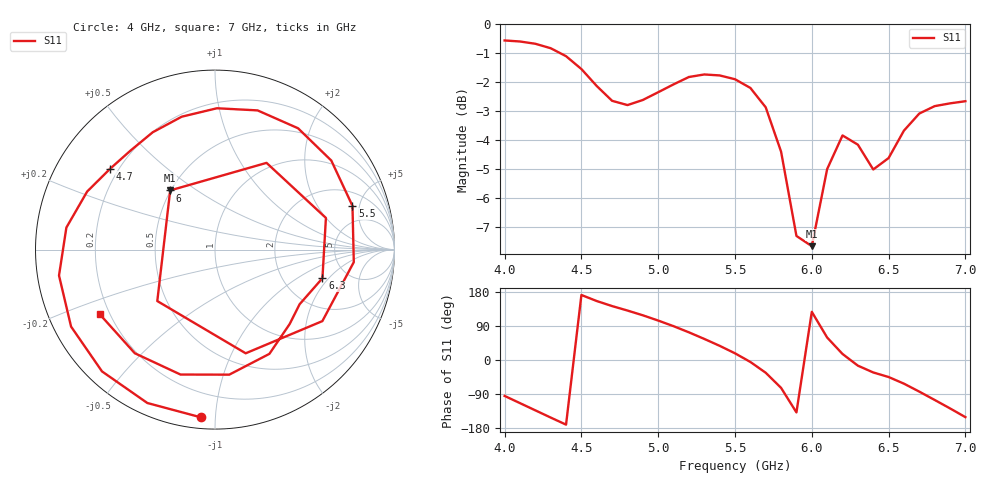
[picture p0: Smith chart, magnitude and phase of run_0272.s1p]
! Touchstone file exported from HFSS 2024.2.0
!  File:  C:/Users/wsak9/Desktop/Sim Fast/Widenad Patch/WP_AI_V1_sweep.aedt
!  Generated:  02:26:49 AM Oct 14, 2026
!  Design:  A1_model
!  Project:  WP_AI_V1_sweep
!  Setup:  Setup1
!  Solution:  Sweep
! Variables:
!  Air_gap = 1.59mm
!  Curve_Amp1 = 1.62
!  Curve_len1 = 1
!  Curve_pos = 10.205mm
!  Extra = 4.12mm
!  H_sub = 0.79mm
!  L_Patch = 16.41mm
!  L_Patch1 = 20.04mm
!  Sx = 3.59mm
!  Sy = 2.58mm
!  WS = 1.37mm
!  W_Patch = 16.12mm
!  W_Patch1 = 15.92mm
!Data is not renormalized
# GHz S MA
! Terminal data exported
! Port[1] = 1
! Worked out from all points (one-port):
!   31 points, 4 GHz to 7 GHz, reference per port
!   lowest |S11| = -7.7 dB at 6 GHz (marker M1), VSWR 2.41
!   |S11| at or under -10 dB: nowhere
!   S11 on the Smith chart (normalised r, x): 4 GHz: 0.06, -0.92; 4.7 GHz: 0.17, +0.33; 5.5 GHz: 3.10, +4.27; 6 GHz: 0.50, +0.39; 6.3 GHz: 3.30, -1.71; 7 GHz: 0.16, -0.25
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4  0.9379 -94.8
4.1  0.9341 -113.8
4.2  0.9257 -132.9
4.3  0.9094 -151.9
4.4  0.881 -170.6
4.5  0.8371 171.6
4.6  0.7823 155.6
4.7  0.7376 142.3
4.8  0.7252 130.5
5  0.7633 104.1
5.2  0.811 73.0
5.3  0.8192 55.6
5.4  0.8161 37.4
5.5  0.8038 17.7
5.6  0.7765 -5.2
5.7  0.7187 -33.7
5.8  0.6025 -73.5
5.9  0.4308 -138.3
6  0.4136 127.1
6.1  0.5621 59.3
6.2  0.6427 15.9
6.3  0.6194 -14.9
6.4  0.5612 -32.9
6.6  0.6552 -62.4
6.7  0.7012 -83.5
6.8  0.7222 -105.4
6.9  0.7302 -127.7
7  0.7365 -150.8
